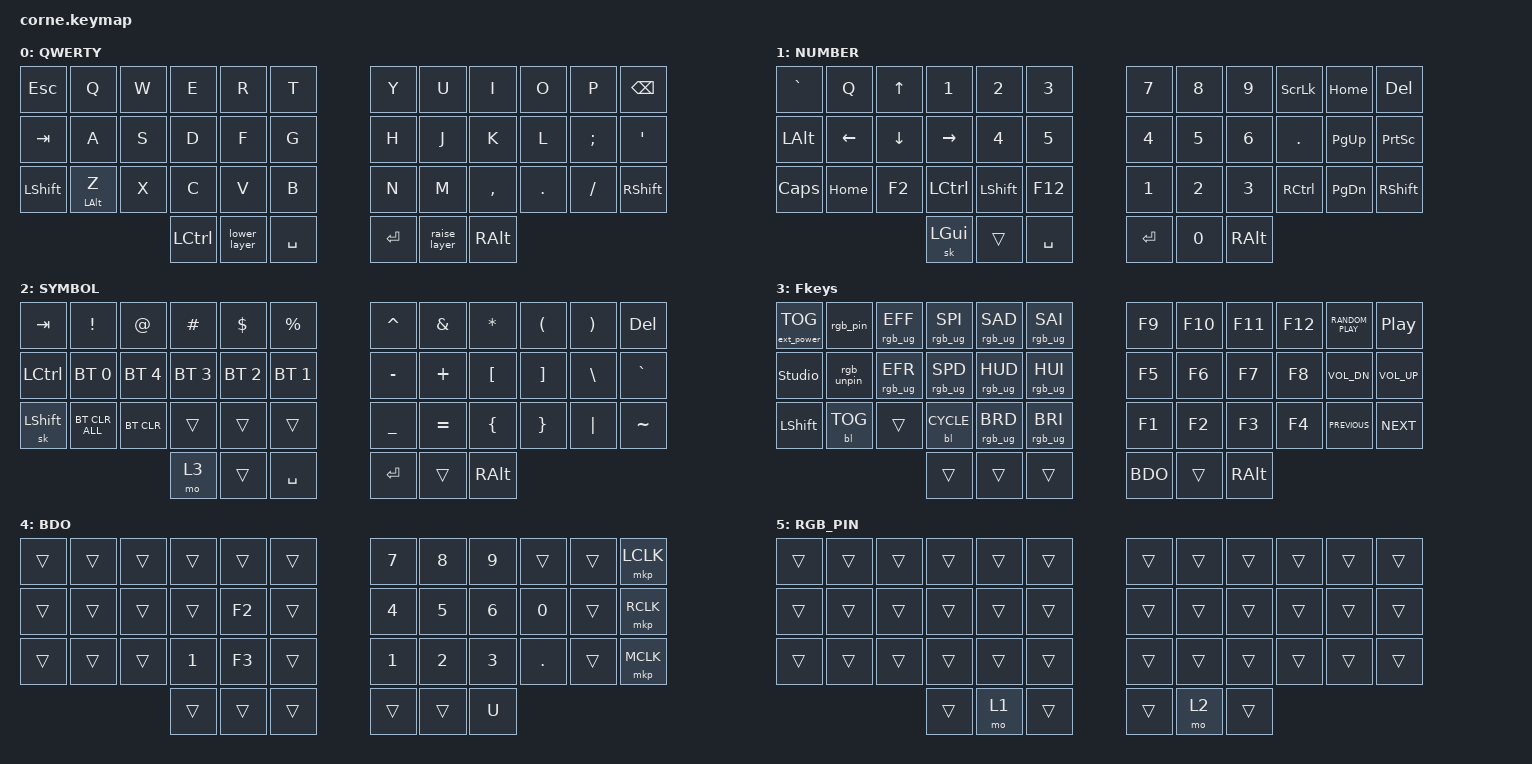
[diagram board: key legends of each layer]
#include <dt-bindings/zmk/mouse.h>
#include <behaviors.dtsi>
#include <dt-bindings/zmk/backlight.h>
#include <dt-bindings/zmk/bt.h>
#include <dt-bindings/zmk/ext_power.h>
#include <dt-bindings/zmk/keys.h>
#include <dt-bindings/zmk/pointing.h>
#include <dt-bindings/zmk/rgb.h>

/ {
    macros {
        lower_layer: lower_layer {
            compatible = "zmk,behavior-macro";
            #binding-cells = <0>;
            bindings =
                <&macro_press>,
                <&mo 1>,
                <&macro_tap>,
                <&rgb_ug RGB_ON &rgb_ug RGB_COLOR_HSB(0,0,8)>,
                <&macro_pause_for_release>,
                <&macro_release>,
                <&mo 1>,
                <&macro_tap>,
                <&rgb_ug RGB_OFF>;

            label = "LOWER_LAYER";
        };

        raise_layer: raise_layer {
            compatible = "zmk,behavior-macro";
            #binding-cells = <0>;
            bindings =
                <&macro_press>,
                <&mo 2>,
                <&macro_tap>,
                <&rgb_ug RGB_ON &rgb_ug RGB_COLOR_HSB(0,74,8)>,
                <&macro_pause_for_release>,
                <&macro_release>,
                <&mo 2>,
                <&macro_tap>,
                <&rgb_ug RGB_OFF>;

            label = "RAISE_LAYER";
        };

        BDO: BDO {
            compatible = "zmk,behavior-macro";
            #binding-cells = <0>;
            bindings =
                <&macro_tap>,
                <&tog 4 &rgb_ug RGB_ON &rgb_ug RGB_COLOR_HSB(37,100,50)>;

            label = "BDO";
        };

        rgb_pin: rgb_pin {
            compatible = "zmk,behavior-macro";
            #binding-cells = <0>;
            bindings = <&macro_tap>, <&tog 5 &rgb_ug RGB_ON>;

            label = "RGB_PIN";
        };

        rgb_unpin: rgb_unpin {
            compatible = "zmk,behavior-macro";
            #binding-cells = <0>;
            bindings = <&macro_tap>, <&tog 5 &rgb_ug RGB_OFF>;

            label = "RGB_UNPIN";
        };
    };

    keymap {
        compatible = "zmk,keymap";

        default_layer {
            label = "QWERTY";
            bindings = <
&kp ESC    &kp Q           &kp W  &kp E      &kp R         &kp T        &kp Y    &kp U         &kp I          &kp O    &kp P     &kp BSPC
&kp TAB    &kp A           &kp S  &kp D      &kp F         &kp G        &kp H    &kp J         &kp K          &kp L    &kp SEMI  &kp SQT
&kp LSHFT  &mt LEFT_ALT Z  &kp X  &kp C      &kp V         &kp B        &kp N    &kp M         &kp COMMA      &kp DOT  &kp FSLH  &kp RIGHT_SHIFT
                                  &kp LCTRL  &lower_layer  &kp SPACE    &kp RET  &raise_layer  &kp RIGHT_ALT
            >;
        };

        lower_layer {
            label = "NUMBER";
            bindings = <
&kp GRAVE     &kp Q     &kp UP_ARROW  &kp NUMBER_1  &kp NUMBER_2    &kp NUMBER_3    &kp NUMBER_7  &kp NUMBER_8  &kp NUMBER_9  &kp SCROLLLOCK     &kp HOME   &kp DEL
&kp LEFT_ALT  &kp LEFT  &kp DOWN      &kp RIGHT     &kp NUMBER_4    &kp NUMBER_5    &kp NUMBER_4  &kp NUMBER_5  &kp NUMBER_6  &kp PERIOD         &kp PG_UP  &kp PRINTSCREEN
&kp CAPS      &kp HOME  &kp F2        &kp LCTRL     &kp LEFT_SHIFT  &kp F12         &kp NUMBER_1  &kp NUMBER_2  &kp NUMBER_3  &kp RIGHT_CONTROL  &kp PG_DN  &kp RIGHT_SHIFT
                                      &sk LGUI      &trans          &kp SPACE       &kp RET       &kp N0        &kp RALT
            >;
        };

        raise_layer {
            label = "SYMBOL";
            bindings = <
&kp TAB    &kp EXCL        &kp AT        &kp HASH      &kp DLLR      &kp PRCNT       &kp CARET  &kp AMPS   &kp STAR  &kp LPAR  &kp RPAR  &kp DEL
&kp LCTRL  &bt BT_SEL 0    &bt BT_SEL 4  &bt BT_SEL 3  &bt BT_SEL 2  &bt BT_SEL 1    &kp MINUS  &kp PLUS   &kp LBKT  &kp RBKT  &kp BSLH  &kp GRAVE
&sk LSHFT  &bt BT_CLR_ALL  &bt BT_CLR    &trans        &trans        &trans          &kp UNDER  &kp EQUAL  &kp LBRC  &kp RBRC  &kp PIPE  &kp TILDE
                                         &mo 3         &trans        &kp SPACE       &kp RET    &trans     &kp RALT
            >;
        };

        adjust_layer {
            label = "Fkeys";
            bindings = <
&ext_power EP_TOG  &rgb_pin    &rgb_ug RGB_EFF  &rgb_ug RGB_SPI  &rgb_ug RGB_SAD  &rgb_ug RGB_SAI    &kp F9  &kp F10  &kp F11        &kp F12  &kp C_RANDOM_PLAY  &kp C_PLAY_PAUSE
&studio_unlock     &rgb_unpin  &rgb_ug RGB_EFR  &rgb_ug RGB_SPD  &rgb_ug RGB_HUD  &rgb_ug RGB_HUI    &kp F5  &kp F6   &kp F7         &kp F8   &kp C_VOL_DN       &kp C_VOLUME_UP
&kp LEFT_SHIFT     &bl BL_TOG  &trans           &bl BL_CYCLE     &rgb_ug RGB_BRD  &rgb_ug RGB_BRI    &kp F1  &kp F2   &kp F3         &kp F4   &kp C_PREVIOUS     &kp C_NEXT
                                                &trans           &trans           &trans             &BDO    &trans   &kp RIGHT_ALT
            >;
        };

        BDO {
            label = "BDO";
            bindings = <
&trans  &trans  &trans  &trans        &trans  &trans    &kp N7        &kp NUMBER_8  &kp N9        &trans        &trans  &mkp LCLK
&trans  &trans  &trans  &trans        &kp F2  &trans    &kp NUMBER_4  &kp N5        &kp NUMBER_6  &kp NUMBER_0  &trans  &mkp RCLK
&trans  &trans  &trans  &kp NUMBER_1  &kp F3  &trans    &kp NUMBER_1  &kp NUMBER_2  &kp NUMBER_3  &kp PERIOD    &trans  &mkp MCLK
                        &trans        &trans  &trans    &trans        &trans        &kp U
            >;
        };

        rgb_keep_layer {
            label = "RGB_PIN";
            bindings = <
&trans  &trans  &trans  &trans  &trans  &trans    &trans  &trans  &trans  &trans  &trans  &trans
&trans  &trans  &trans  &trans  &trans  &trans    &trans  &trans  &trans  &trans  &trans  &trans
&trans  &trans  &trans  &trans  &trans  &trans    &trans  &trans  &trans  &trans  &trans  &trans
                        &trans  &mo 1   &trans    &trans  &mo 2   &trans
            >;
        };
    };
};
